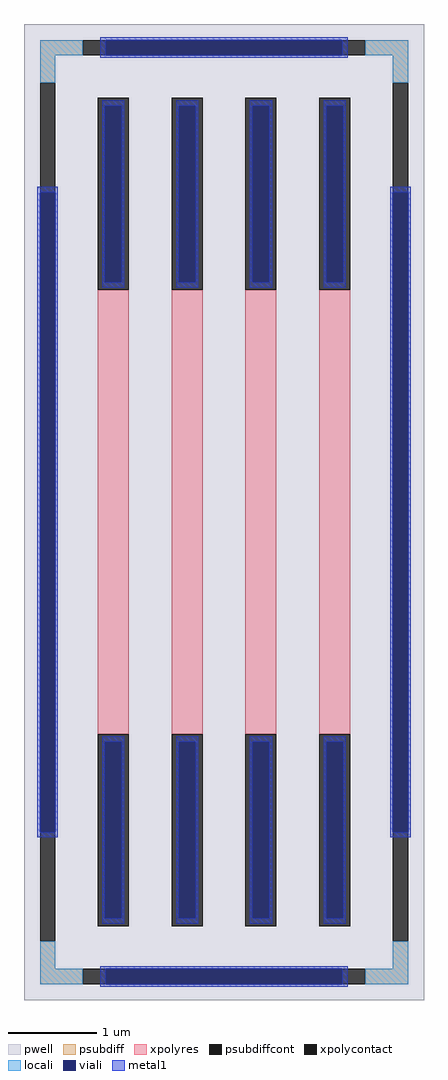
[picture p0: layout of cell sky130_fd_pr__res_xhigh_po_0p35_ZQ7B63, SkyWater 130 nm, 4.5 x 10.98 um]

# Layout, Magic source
magic
tech sky130A
magscale 1 2
<< pwell >>
rect -450 -1098 450 1098
<< psubdiff >>
rect -414 1028 -318 1062
rect 318 1028 414 1062
rect -414 966 -380 1028
rect 380 966 414 1028
rect -414 -1028 -380 -966
rect 380 -1028 414 -966
rect -414 -1062 -318 -1028
rect 318 -1062 414 -1028
<< psubdiffcont >>
rect -318 1028 318 1062
rect -414 -966 -380 966
rect 380 -966 414 966
rect -318 -1062 318 -1028
<< xpolycontact >>
rect -284 500 -214 932
rect -284 -932 -214 -500
rect -118 500 -48 932
rect -118 -932 -48 -500
rect 48 500 118 932
rect 48 -932 118 -500
rect 214 500 284 932
rect 214 -932 284 -500
<< xpolyres >>
rect -284 -500 -214 500
rect -118 -500 -48 500
rect 48 -500 118 500
rect 214 -500 284 500
<< locali >>
rect -414 1028 -318 1062
rect 318 1028 414 1062
rect -414 966 -380 1028
rect 380 966 414 1028
rect -414 -1028 -380 -966
rect 380 -1028 414 -966
rect -414 -1062 -318 -1028
rect 318 -1062 414 -1028
<< viali >>
rect -266 1028 266 1062
rect -414 -720 -380 720
rect -268 517 -230 914
rect -102 517 -64 914
rect 64 517 102 914
rect 230 517 268 914
rect -268 -914 -230 -517
rect -102 -914 -64 -517
rect 64 -914 102 -517
rect 230 -914 268 -517
rect 380 -720 414 720
rect -266 -1062 266 -1028
<< metal1 >>
rect -278 1062 278 1068
rect -278 1028 -266 1062
rect 266 1028 278 1062
rect -278 1022 278 1028
rect -274 914 -224 926
rect -420 720 -374 732
rect -420 -720 -414 720
rect -380 -720 -374 720
rect -274 517 -268 914
rect -230 517 -224 914
rect -274 505 -224 517
rect -108 914 -58 926
rect -108 517 -102 914
rect -64 517 -58 914
rect -108 505 -58 517
rect 58 914 108 926
rect 58 517 64 914
rect 102 517 108 914
rect 58 505 108 517
rect 224 914 274 926
rect 224 517 230 914
rect 268 517 274 914
rect 224 505 274 517
rect 374 720 420 732
rect -420 -732 -374 -720
rect -274 -517 -224 -505
rect -274 -914 -268 -517
rect -230 -914 -224 -517
rect -274 -926 -224 -914
rect -108 -517 -58 -505
rect -108 -914 -102 -517
rect -64 -914 -58 -517
rect -108 -926 -58 -914
rect 58 -517 108 -505
rect 58 -914 64 -517
rect 102 -914 108 -517
rect 58 -926 108 -914
rect 224 -517 274 -505
rect 224 -914 230 -517
rect 268 -914 274 -517
rect 374 -720 380 720
rect 414 -720 420 720
rect 374 -732 420 -720
rect 224 -926 274 -914
rect -278 -1028 278 -1022
rect -278 -1062 -266 -1028
rect 266 -1062 278 -1028
rect -278 -1068 278 -1062
<< properties >>
string FIXED_BBOX -397 -1045 397 1045
string gencell sky130_fd_pr__res_xhigh_po_0p35
string library sky130
string parameters w 0.350 l 5 m 1 nx 4 wmin 0.350 lmin 0.50 rho 2000 val 29.646k dummy 0 dw 0.0 term 188.2 sterm 0.0 caplen 0 wmax 0.350 guard 1 glc 1 grc 1 gtc 1 gbc 1 compatible {sky130_fd_pr__res_xhigh_po_0p35  sky130_fd_pr__res_xhigh_po_0p69 sky130_fd_pr__res_xhigh_po_1p41  sky130_fd_pr__res_xhigh_po_2p85 sky130_fd_pr__res_xhigh_po_5p73} snake 0 full_metal 1 n_guard 0 hv_guard 0 vias 1 viagb 70 viagt 70 viagl 70 viagr 70
<< end >>
